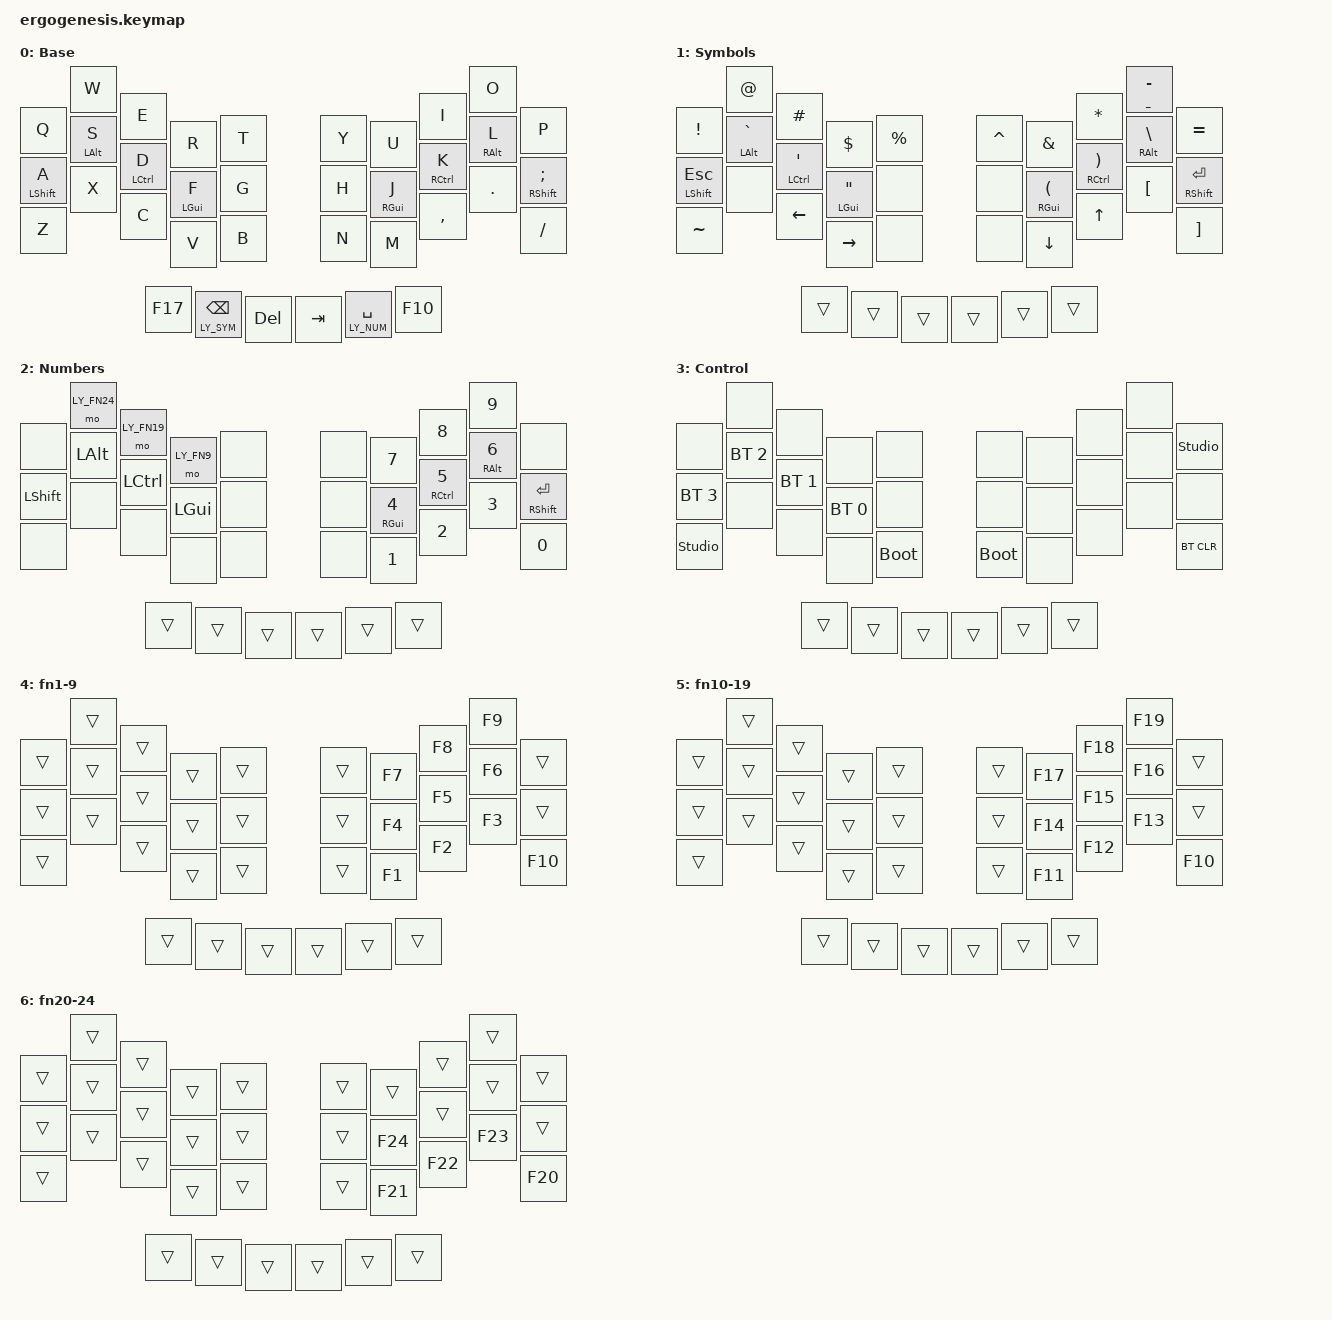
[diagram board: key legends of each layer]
// https://github.com/zmkfirmware/zmk/blob/main/app/boards/shields/cradio/cradio.keymap
// https://github.com/auryn31/avocado/blob/main/config/boards/shields/avocado/avocado.keymap


#include <behaviors.dtsi>// https://github.com/zmkfirmware/zmk/blob/main/app/dts/behaviors.dtsi
#include <dt-bindings/zmk/keys.h>// https://github.com/zmkfirmware/zmk/blob/main/app/include/dt-bindings/zmk/keys.h
#include <dt-bindings/zmk/bt.h>// https://github.com/zmkfirmware/zmk/blob/main/app/include/dt-bindings/zmk/bt.h

#include <dt-bindings/zmk/pointing.h>// https://github.com/zmkfirmware/zmk/blob/main/app/include/dt-bindings/zmk/pointing.h
#include "boards/shields/ergogenesis/36.h"
#include "boards/shields/ergogenesis/helper.h"

// https://github.com/urob/zmk-helpers/tree/main?tab=readme-ov-file#unicode-characters-and-language-collection
// #define HOST_OS 1 // Linux
// #define HOST_OS 2// MacOS
// #include "zmk-helpers/helper.h"
// // #include "zmk-helpers/unicode-chars/german.dtsi" // https://github.com/urob/zmk-helpers/blob/main/include/zmk-helpers/unicode-chars/german.dtsi
// #include <zmk-helpers/unicode-chars/currency.dtsi>// https://github.com/urob/zmk-helpers/blob/main/include/zmk-helpers/unicode-chars/currency.dtsi

// TODO: https://github.com/urob/zmk-helpers/blob/main/docs/core_helpers.md#zmk_unicode
// TODO leader key?

// Home row mods macro
#define HRML(k1,k2,k3,k4) &ht LSHFT k1  &ht LALT  k2  &ht LCTRL k3  &ht LGUI  k4
#define HRMR(k1,k2,k3,k4) &ht RGUI  k1  &ht RCTRL k2  &ht RALT  k3  &ht RSHFT k4

#define LY_BAS 0
#define LY_SYM 1
#define LY_NUM 2
#define LY_CTL 3
#define LY_FN9 4
#define LY_FN19 5
#define LY_FN24 6

//
// #define LY_NAV 3

// rango keyboard toggle with ctrl-shift-5

// ref layers https://github.com/zmkfirmware/zmk/blob/e93cd31a5866cd4f50385bece7a3fb770f2ca6f8/app/boards/shields/cradio/cradio.keymap#L4

/ {
	// {{{1 Combos
	// https://zmk.dev/docs/keymaps/combos
	combos {
		compatible = "zmk,combos";
		// Keys
		/* key_super { */
		/* 	// Windows key was missing! */
		/* 	key-positions = <LM1 RM1>; */
		/* 	timeout-ms = <50>; */
		/* 	layers = < LY_BAS >; */
		/* 	bindings = <&kp LWIN>; */
		/* }; */

		// Combo behaviors are evaluated on the central half, so binding a
		// three-key combo directly to &bootloader always resets the left half.
		// Instead, the first two keys momentarily select LY_CTL; the third key
		// is then handled normally and &bootloader follows that key's source.
		// Hold T+G, then press B to boot the left half.
		bootloader_l_prep {
			key-positions = <LT0 LM0>;
			timeout-ms = <100>;
			layers = <LY_BAS>;
			bindings = <&mo LY_CTL>;
		};

		// Hold Y+H, then press N to boot the right half.
		bootloader_r_prep {
			key-positions = <RT0 RM0>;
			timeout-ms = <100>;
			layers = <LY_BAS>;
			bindings = <&mo LY_CTL>;
		};
  	// key_escape {
		//     // Wanted a way to avoid 2 layer switches while pressing escape in vim
		//     // emulates C-[
		//     key-positions = <LB4 RT4>;
		//     timeout-ms = <50>;
		//     // layers = < LY_BAS LY_SYM >;
		//     bindings = <&kp ESC>;
		// };
		// key_escape {
		//     // Wanted a way to avoid 2 layer switches while pressing escape in vim
		//     // emulates C-[
		//     key-positions = <LB4 RT4>;
		//     timeout-ms = <50>;
		//     // layers = < LY_BAS LY_SYM >;
		//     bindings = <&kp ESC>;
		// };
		// fn1_combo {
		//     key-positions = <LT1 RB1>;
		//     timeout-ms = <50>;
		//     layers = < LY_NUM >;
		//     bindings = <&kp F1>;
		// };
	};
	
	// {{{1 Macros
	// https://zmk.dev/docs/keymaps/behaviors/macros
	macros {
	};
	
	// {{{1 Behaviors
	// https://zmk.dev/docs/keymaps/behaviors#key-press-behaviors
	// https://zmk.dev/docs/keymaps/behaviors#user-defined-behaviors
	behaviors {
		ht: hold_tap {
			compatible = "zmk,behavior-hold-tap";
			#binding-cells = <2>;
			// flavor = "tap-preferred";
			flavor = "balanced";
			tapping-term-ms = <220>;
			quick-tap-ms = <150>;
			require-prior-idle-ms = <100>;
			bindings = <&kp>, <&kp>;
		};
		td0: tap_dance_0 {
			compatible = "zmk,behavior-tap-dance";
			label = "TAPDANCE";
			#binding-cells = <0>;// No inputs
			tapping-term-ms = <200>;
			bindings = <&kp N1>, <&kp N2>, <&kp N3>;// outputs
		};
		// https://zmk.dev/docs/keymaps/behaviors/hold-tap?examples=home_row_mods#layer-tap
		/* urob timeless HRM */
		// 150 ms caused missed modifiers with the lighter switches. Keep the
		// right hand at 100 ms, but let left-hand modifiers follow Space within
		// 75 ms so the A/Shift key can reliably capitalize the next letter.
		/* Left-hand HRMs. */
		hml: hml {
			compatible = "zmk,behavior-hold-tap";
			#binding-cells = <2>;
			flavor = "balanced";
			tapping-term-ms = <280>;
			quick-tap-ms = <175>;
			require-prior-idle-ms = <75>;
			bindings = <&kp>, <&kp>;
			// Before the tapping term, keys not listed here force a tap.
			hold-trigger-key-positions = <KEYS_R THUMBS>;
			hold-trigger-on-release;
		};
		/* Right-hand HRMs. */
		hmr: hmr {
			compatible = "zmk,behavior-hold-tap";
			#binding-cells = <2>;
			flavor = "balanced";
			tapping-term-ms = <280>;
			quick-tap-ms = <175>;
			require-prior-idle-ms = <100>;
			bindings = <&kp>, <&kp>;
			hold-trigger-key-positions = <KEYS_L THUMBS>;
			hold-trigger-on-release;
		};
		/* Space is tap-preferred so rolling into the next letter cannot turn it
		 * into the number-layer hold. Hold it deliberately for 200 ms first. */
		lt_num: layer_tap_number {
			compatible = "zmk,behavior-hold-tap";
			#binding-cells = <2>;
			flavor = "tap-preferred";
			tapping-term-ms = <200>;
			bindings = <&mo>, <&kp>;
		};
	};
	
	// {{{1 conditional-layers
	conditional_layers {
		compatible = "zmk,conditional-layers";
		tri_layer {
			if-layers = <LY_SYM LY_NUM>;
			then-layer = <LY_CTL>;
		};
	};
	
	// {{{1 Keymap
	keymap {
		compatible = "zmk,keymap";
		// {{{1 [0] LY_BAS
		default_layer {
			display-name = "Base";
			bindings = <
//        ┌─────────────┬─────────────┬─────────────┬────────────────┬─────┐   ┌─────┬───────────────┬─────────────┬─────────────┬─────────────┐
//        │      Q      │      W      │      E      │       R        │  T  │   │  Y  │       U       │      I      │      O      │      P      │
//        ├─────────────┼─────────────┼─────────────┼────────────────┼─────┤   ├─────┼───────────────┼─────────────┼─────────────┼─────────────┤
//        │ &hml lsft A │ &hml lalt S │ &hml lctl D │  &hml lgui F   │  G  │   │  H  │  &hmr rgui J  │ &hmr rctl K │ &hmr ralt L │ &hmr rsft ; │
//        ├─────────────┼─────────────┼─────────────┼────────────────┼─────┤   ├─────┼───────────────┼─────────────┼─────────────┼─────────────┤
//        │      Z      │      X      │      C      │       V        │  B  │   │  N  │       M       │      ,      │      .      │      /      │
//        └─────────────┴─────────────┼─────────────┼────────────────┼─────┤   ├─────┼───────────────┼─────────────┼─────────────┴─────────────┘
//                                    │     f17     │ lt LY_SYM BKSP │ del │   │ tab │ lt_num NUM spc │     f10     │
//                                    └─────────────┴────────────────┴─────┘   └─────┴───────────────┴─────────────┘
      &kp Q           &kp W         &kp E          &kp R             &kp T         &kp Y     &kp U              &kp I          &kp O         &kp P
      &hml LSHIFT A   &hml LALT S   &hml LCTRL D   &hml LGUI F       &kp G         &kp H     &hmr RGUI J        &hmr RCTRL K   &hmr RALT L   &hmr RSHIFT SEMI
      &kp Z           &kp X         &kp C          &kp V             &kp B         &kp N     &kp M              &kp COMMA      &kp DOT       &kp FSLH
                                    &kp F17        &lt LY_SYM BKSP   &kp DEL       &kp TAB   &lt_num LY_NUM SPACE   &kp F10
			>;// kinesis has enter where I put tab
		};
		
		// {{{1 [1] LY_SYM
		symbols_layer {
			display-name = "Symbols";
			bindings = <
//        ┌───────────────┬─────────────┬─────────────┬─────────────┬─────┐   ┌─────┬─────────────┬─────────────┬─────────────┬───────────────┐
//        │       !       │      @      │      #      │      $      │  %  │   │  ^  │      &      │      *      │   mt _ -    │       =       │
//        ├───────────────┼─────────────┼─────────────┼─────────────┼─────┤   ├─────┼─────────────┼─────────────┼─────────────┼───────────────┤
//        │ &hml lsft esc │ &hml lalt ` │ &hml lctl ' │ &hml lgui " │     │   │     │ &hmr rgui ( │ &hmr rctl ) │ &hmr ralt \ │ &hmr rsft ent │
//        ├───────────────┼─────────────┼─────────────┼─────────────┼─────┤   ├─────┼─────────────┼─────────────┼─────────────┼───────────────┤
//        │       ~       │             │    left     │    rght     │     │   │     │    down     │     up      │      [      │       ]       │
//        └───────────────┴─────────────┼─────────────┼─────────────┼─────┤   ├─────┼─────────────┼─────────────┼─────────────┴───────────────┘
//                                      │             │             │     │   │     │             │             │
//                                      └─────────────┴─────────────┴─────┘   └─────┴─────────────┴─────────────┘
      &kp EXCL          &kp AT            &kp HASH         &kp DOLLAR      &kp PRCNT       &kp CARET   &kp AMPS         &kp STAR          &mt UNDER MINUS   &kp EQUAL
      &hml LSHIFT ESC   &hml LALT GRAVE   &hml LCTRL SQT   &hml LGUI DQT   &none           &none       &hmr RGUI LPAR   &hmr RCTRL RPAR   &hmr RALT BSLH    &hmr RSHIFT ENTER
      &kp TILDE         &none             &kp LEFT         &kp RIGHT       &none           &none       &kp DOWN         &kp UP            &kp LBKT          &kp RBKT
                                          &trans           &trans          &trans          &trans      &trans           &trans
			>;
			// " is a bit awkward to type
			// left-side shift requires left thumb and right shift -> weird! avoid it
			// TODO: put unused keys in <24> <25> (e.g. ^ %)
		};
		// {{{1 [2] LY_NUM
		num_layer {
			display-name = "Numbers";
			bindings = <
//        ┌──────┬───────────┬───────────┬──────────┬─────┐   ┌─────┬─────────────┬─────────────┬─────────────┬───────────────┐
//        │      │ mo LY_f24 │ mo LY_f19 │ mo LY_F9 │     │   │     │      7      │      8      │      9      │               │
//        ├──────┼───────────┼───────────┼──────────┼─────┤   ├─────┼─────────────┼─────────────┼─────────────┼───────────────┤
//        │ lsft │   lalt    │   lctl    │   lgui   │     │   │     │ &hmr rgui 4 │ &hmr rctl 5 │ &hmr ralt 6 │ &hmr rsft ent │
//        ├──────┼───────────┼───────────┼──────────┼─────┤   ├─────┼─────────────┼─────────────┼─────────────┼───────────────┤
//        │      │           │           │          │     │   │     │      1      │      2      │      3      │       0       │
//        └──────┴───────────┼───────────┼──────────┼─────┤   ├─────┼─────────────┼─────────────┼─────────────┴───────────────┘
//                           │           │          │     │   │     │             │             │
//                           └───────────┴──────────┴─────┘   └─────┴─────────────┴─────────────┘
      &none        &mo LY_FN24   &mo LY_FN19   &mo LY_FN9   &none        &none    &kp N7         &kp N8          &kp N9         &none
      &kp LSHIFT   &kp LALT      &kp LCTRL     &kp LGUI     &none        &none    &hmr RGUI N4   &hmr RCTRL N5   &hmr RALT N6   &hmr RSHIFT ENTER
      &none        &none         &none         &none        &none        &none    &kp N1         &kp N2          &kp N3         &kp N0
                                 &trans        &trans       &trans       &trans   &trans         &trans
			>;
			// smart number layer?
			// &mo LY_FN24 -> &lt LY_FN24 SPACE
			// &kp SPACE   -> &lt LY_FN24 SPACE
		};
		
		// {{{1 [3] LY_CTL
		ctl_layer {
			display-name = "Control";
			bindings = <
//        ┌────────────────┬──────────┬──────────┬──────────┬──────┐   ┌──────┬─────┬─────┬─────┬────────────────┐
//        │                │          │          │          │      │   │      │     │     │     │ &studio_unlock │
//        ├────────────────┼──────────┼──────────┼──────────┼──────┤   ├──────┼─────┼─────┼─────┼────────────────┤
//        │    bt_sel 3    │ bt_sel 2 │ bt_sel 1 │ bt_sel 0 │      │   │      │     │     │     │                │
//        ├────────────────┼──────────┼──────────┼──────────┼──────┤   ├──────┼─────┼─────┼─────┼────────────────┤
//        │ &studio_unlock │          │          │          │ boot │   │ boot │     │     │     │     bt_clr     │
//        └────────────────┴──────────┼──────────┼──────────┼──────┤   ├──────┼─────┼─────┼─────┴────────────────┘
//                                    │          │          │      │   │      │     │     │
//                                    └──────────┴──────────┴──────┘   └──────┴─────┴─────┘
      &none            &none          &none          &none          &none             &none         &none    &none    &none   &studio_unlock
      &bt BT_SEL 3     &bt BT_SEL 2   &bt BT_SEL 1   &bt BT_SEL 0   &none             &none         &none    &none    &none   &none
      &studio_unlock   &none          &none          &none          &bootloader       &bootloader   &none    &none    &none   &bt BT_CLR
                                      &trans         &trans         &trans            &trans        &trans   &trans
			>;
			// TODO: macro to print reminder of the bt profiles?
		};
		// {{{1 [4] LY_FN9
		fn1-9_layer {
			display-name = "fn1-9";
			bindings = <
//        ┌─────┬─────┬─────┬─────┬─────┐   ┌─────┬─────┬─────┬────┬─────┐
//        │     │     │     │     │     │   │     │ f7  │ f8  │ f9 │     │
//        ├─────┼─────┼─────┼─────┼─────┤   ├─────┼─────┼─────┼────┼─────┤
//        │     │     │     │     │     │   │     │ f4  │ f5  │ f6 │     │
//        ├─────┼─────┼─────┼─────┼─────┤   ├─────┼─────┼─────┼────┼─────┤
//        │     │     │     │     │     │   │     │ f1  │ f2  │ f3 │ f10 │
//        └─────┴─────┼─────┼─────┼─────┤   ├─────┼─────┼─────┼────┴─────┘
//                    │     │     │     │   │     │     │     │
//                    └─────┴─────┴─────┘   └─────┴─────┴─────┘
      &trans   &trans   &trans   &trans   &trans       &trans   &kp F7   &kp F8   &kp F9   &trans
      &trans   &trans   &trans   &trans   &trans       &trans   &kp F4   &kp F5   &kp F6   &trans
      &trans   &trans   &trans   &trans   &trans       &trans   &kp F1   &kp F2   &kp F3   &kp F10
                        &trans   &trans   &trans       &trans   &trans   &trans
			>;
		};
		// {{{1 [5] LY_FN19
		fn10-19_layer {
			display-name = "fn10-19";
			bindings = <
//        ┌─────┬─────┬─────┬─────┬─────┐   ┌─────┬─────┬─────┬─────┬─────┐
//        │     │     │     │     │     │   │     │ f17 │ f18 │ f19 │     │
//        ├─────┼─────┼─────┼─────┼─────┤   ├─────┼─────┼─────┼─────┼─────┤
//        │     │     │     │     │     │   │     │ f14 │ f15 │ f16 │     │
//        ├─────┼─────┼─────┼─────┼─────┤   ├─────┼─────┼─────┼─────┼─────┤
//        │     │     │     │     │     │   │     │ f11 │ f12 │ f13 │ f10 │
//        └─────┴─────┼─────┼─────┼─────┤   ├─────┼─────┼─────┼─────┴─────┘
//                    │     │     │     │   │     │     │     │
//                    └─────┴─────┴─────┘   └─────┴─────┴─────┘
      &trans   &trans   &trans   &trans   &trans       &trans   &kp F17   &kp F18   &kp F19   &trans
      &trans   &trans   &trans   &trans   &trans       &trans   &kp F14   &kp F15   &kp F16   &trans
      &trans   &trans   &trans   &trans   &trans       &trans   &kp F11   &kp F12   &kp F13   &kp F10
                        &trans   &trans   &trans       &trans   &trans    &trans
			>;
		};
		
		// {{{1 [6] LY_FN24
		fn20-24_layer {
			display-name = "fn20-24";
			bindings = <
//        ┌─────┬─────┬─────┬─────┬─────┐   ┌─────┬─────┬─────┬─────┬─────┐
//        │     │     │     │     │     │   │     │     │     │     │     │
//        ├─────┼─────┼─────┼─────┼─────┤   ├─────┼─────┼─────┼─────┼─────┤
//        │     │     │     │     │     │   │     │ f24 │     │     │     │
//        ├─────┼─────┼─────┼─────┼─────┤   ├─────┼─────┼─────┼─────┼─────┤
//        │     │     │     │     │     │   │     │ f21 │ f22 │ f23 │ f20 │
//        └─────┴─────┼─────┼─────┼─────┤   ├─────┼─────┼─────┼─────┴─────┘
//                    │     │     │     │   │     │     │     │
//                    └─────┴─────┴─────┘   └─────┴─────┴─────┘
      &trans   &trans   &trans   &trans   &trans       &trans   &trans    &trans    &trans    &trans
      &trans   &trans   &trans   &trans   &trans       &trans   &kp F24   &trans    &trans    &trans
      &trans   &trans   &trans   &trans   &trans       &trans   &kp F21   &kp F22   &kp F23   &kp F20
                        &trans   &trans   &trans       &trans   &trans    &trans
			>;
		};
		
	};
};

// Keep the Symbols/Backspace layer-tap responsive: another key press resolves
// it as a hold immediately. Space uses the separate tap-preferred &lt_num above
// so typing the next letter cannot swallow it.
&lt {
	flavor = "hold-preferred";
	require-prior-idle-ms = <100>;
};

// Gaming layer? (no hmr)
// // {{{1 LAYER 3
//  nav_layer {
//      display-name = "Nav";
//      bindings = <
//        &kp N1       &kp N2  &kp N3         &kp N4           &kp N5  /* | */    &none       &none          &none           &none        &kp BKSP
//        &kp LSHIFT   &kp Q   &kp W          &kp E            &kp R   /* | */    &kp LEFT    &kp DOWN       &kp UP          &kp RIGHT    &kp ENTER
//        &kp LCTRL    &kp A   &msc SCRL_LEFT &msc SCRL_RIGHT  &kp G   /* | */    &none       &msc SCRL_UP   &msc SCRL_DOWN  &none
//                                            &kp SPACE        &none   /* | */    &none       &to LY_BAS
//      >;
//  };
//  // TODO: get the navigation commands from ben

// vim:ft=dts:
// vim:fdm=marker:fen:fdl=0:
